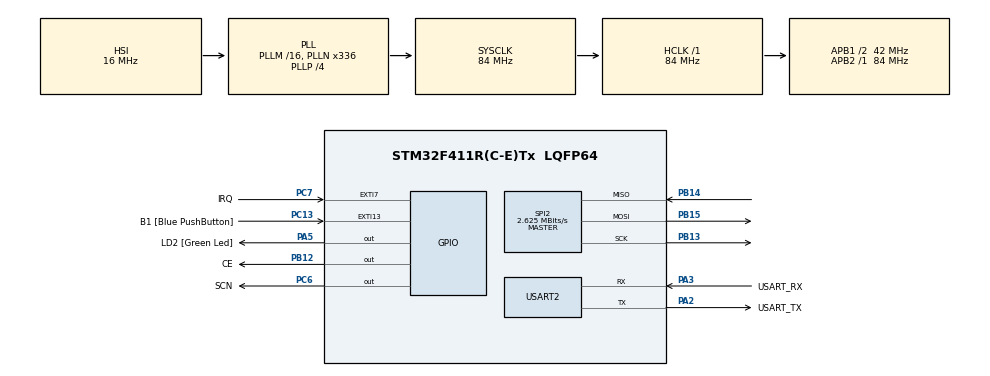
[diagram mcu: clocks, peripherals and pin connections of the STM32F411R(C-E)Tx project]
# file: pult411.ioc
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Mcu.Family=STM32F4
Mcu.Name=STM32F411R(C-E)Tx
Mcu.Package=LQFP64
NVIC.EXTI9_5_IRQn=true\:0\:0\:false\:false\:true\:true
NVIC.PriorityGroup=NVIC_PRIORITYGROUP_0
PA13.GPIO_Label=TMS
PA13.Mode=Serial_Wire
PA13.Signal=SYS_JTMS-SWDIO
PA14.GPIO_Label=TCK
PA14.Mode=Serial_Wire
PA14.Signal=SYS_JTCK-SWCLK
PA2.GPIO_Label=USART_TX
PA2.Mode=Asynchronous
PA2.Signal=USART2_TX
PA3.GPIO_Label=USART_RX
PA3.Mode=Asynchronous
PA3.Signal=USART2_RX
PA5.GPIO_Label=LD2 [Green Led]
PA5.Signal=GPIO_Output
PB12.GPIO_Label=CE
PB12.Signal=GPIO_Output
PB13.Mode=Full_Duplex_Master
PB13.Signal=SPI2_SCK
PB14.Mode=Full_Duplex_Master
PB14.Signal=SPI2_MISO
PB15.Mode=Full_Duplex_Master
PB15.Signal=SPI2_MOSI
PB3.GPIO_Label=SWO
PB3.Signal=SYS_JTDO-SWO
PC13-ANTI_TAMP.GPIO_Label=B1 [Blue PushButton]
PC13-ANTI_TAMP.GPIO_ModeDefaultEXTI=GPIO_MODE_IT_FALLING
PC13-ANTI_TAMP.Signal=GPXTI13
PC14-OSC32_IN.Signal=RCC_OSC32_IN
PC15-OSC32_OUT.Signal=RCC_OSC32_OUT
PC6.GPIO_Label=SCN
PC6.Signal=GPIO_Output
PC7.GPIO_Label=IRQ
PC7.Signal=GPXTI7
PH0\ -\ OSC_IN.Signal=RCC_OSC_IN
PH1\ -\ OSC_OUT.Signal=RCC_OSC_OUT
ProjectManager.HeapSize=0x200
ProjectManager.StackSize=0x4000
ProjectManager.TargetToolchain=SW4STM32
RCC.48MHZClocksFreq_Value=84000000
RCC.AHBFreq_Value=84000000
RCC.APB1CLKDivider=RCC_HCLK_DIV2
RCC.APB1Freq_Value=42000000
RCC.APB1TimFreq_Value=84000000
RCC.APB2Freq_Value=84000000
RCC.APB2TimFreq_Value=84000000
RCC.CortexFreq_Value=84000000
RCC.FLatency-AdvancedSettings=FLASH_LATENCY_2
RCC.HCLKFreq_Value=84000000
RCC.HSE_VALUE=8000000
RCC.HSI_VALUE=16000000
RCC.PLLN=336
RCC.PLLP=RCC_PLLP_DIV4
RCC.SYSCLKFreq_VALUE=84000000
RCC.SYSCLKSource=RCC_SYSCLKSOURCE_PLLCLK
RCC.VCOOutputFreq_Value=336000000
SPI2.BaudRatePrescaler=SPI_BAUDRATEPRESCALER_16
SPI2.CalculateBaudRate=2.625 MBits/s
SPI2.Direction=SPI_DIRECTION_2LINES
SPI2.Mode=SPI_MODE_MASTER
SPI2.VirtualType=VM_MASTER
USART2.VirtualMode=VM_ASYNC
board=NUCLEO-F411RE

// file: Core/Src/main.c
/**
  ******************************************************************************
  * @file           : main.c
  * @brief          : Main program body
  ******************************************************************************
  ** This notice applies to any and all portions of this file
  * that are not between comment pairs USER CODE BEGIN and
  * USER CODE END. Other portions of this file, whether
  * inserted by the user or by software development tools
  * are owned by their respective copyright owners.
  *
  * COPYRIGHT(c) 2018 STMicroelectronics
  *
  * Redistribution and use in source and binary forms, with or without modification,
  * are permitted provided that the following conditions are met:
  *   1. Redistributions of source code must retain the above copyright notice,
  *      this list of conditions and the following disclaimer.
  *   2. Redistributions in binary form must reproduce the above copyright notice,
  *      this list of conditions and the following disclaimer in the documentation
  *      and/or other materials provided with the distribution.
  *   3. Neither the name of STMicroelectronics nor the names of its contributors
  *      may be used to endorse or promote products derived from this software
  *      without specific prior written permission.
  *
  * THIS SOFTWARE IS PROVIDED BY THE COPYRIGHT HOLDERS AND CONTRIBUTORS "AS IS"
  * AND ANY EXPRESS OR IMPLIED WARRANTIES, INCLUDING, BUT NOT LIMITED TO, THE
  * IMPLIED WARRANTIES OF MERCHANTABILITY AND FITNESS FOR A PARTICULAR PURPOSE ARE
  * DISCLAIMED. IN NO EVENT SHALL THE COPYRIGHT HOLDER OR CONTRIBUTORS BE LIABLE
  * FOR ANY DIRECT, INDIRECT, INCIDENTAL, SPECIAL, EXEMPLARY, OR CONSEQUENTIAL
  * DAMAGES (INCLUDING, BUT NOT LIMITED TO, PROCUREMENT OF SUBSTITUTE GOODS OR
  * SERVICES; LOSS OF USE, DATA, OR PROFITS; OR BUSINESS INTERRUPTION) HOWEVER
  * CAUSED AND ON ANY THEORY OF LIABILITY, WHETHER IN CONTRACT, STRICT LIABILITY,
  * OR TORT (INCLUDING NEGLIGENCE OR OTHERWISE) ARISING IN ANY WAY OUT OF THE USE
  * OF THIS SOFTWARE, EVEN IF ADVISED OF THE POSSIBILITY OF SUCH DAMAGE.
  *
  ******************************************************************************
  */
#include "main.h"
#include "stm32f4xx_hal.h"
#include "spi.h"
#include "usart.h"
#include "gpio.h"

/* USER CODE BEGIN Includes */
#include "nrf24.h"
/* USER CODE END Includes */

/* USER CODE BEGIN PV */
/* Private variables ---------------------------------------------------------*/
int _write(int file, char *ptr, int len)
{
    //CDC_Transmit_FS((uint8_t*)ptr, len);
    HAL_UART_Transmit(&huart2, (uint8_t*)ptr, len, 10);
    return len;
}

/* USER CODE END PV */

void SystemClock_Config(void);

/* USER CODE BEGIN PFP */
/* Private function prototypes -----------------------------------------------*/

/* USER CODE END PFP */

int main(void)
{

  /* MCU Configuration----------------------------------------------------------*/

  /* Reset of all peripherals, Initializes the Flash interface and the Systick. */
  HAL_Init();

  /* Configure the system clock */
  SystemClock_Config();

  /* Initialize all configured peripherals */
  MX_GPIO_Init();
  MX_USART2_UART_Init();
  MX_SPI2_Init();
  /* USER CODE BEGIN 2 */
  NRF24 n;
  printf("Hello, norilsk\n");
  nRF24_Init(&n, &hspi2,
             CE_GPIO_Port, CE_Pin,
             SCN_GPIO_Port, SCN_Pin,
             IRQ_GPIO_Port, IRQ_Pin);
  printf("nrf24 inited\n");
  if(nRF24_Check(&n))
      printf("nrf24 OK\n");
  else
      printf("nrf24 ERR\n");
  /* USER CODE END 2 */

  /* Infinite loop */
  /* USER CODE BEGIN WHILE */
  uint8_t addr[] = "00001";
  nRF24_openWritingPipe(&n, addr, 5);
  nRF24_SetTXPower(&n, nRF24_TXPWR_6dBm);
  nRF24_stopListening(&n);
  while (1)
  {
      if(HAL_GPIO_ReadPin(B1_GPIO_Port, B1_Pin)) {
          char text[] = "P11";
          nRF24_write(&n, text, sizeof(text));
      }
      else {
          char text[] = "P10";
          nRF24_write(&n, text, sizeof(text));
      }
      HAL_Delay(10);
  /* USER CODE END WHILE */

  }

}

void SystemClock_Config(void)
{

  RCC_OscInitTypeDef RCC_OscInitStruct;
  RCC_ClkInitTypeDef RCC_ClkInitStruct;

    /**Configure the main internal regulator output voltage
    */
  __HAL_RCC_PWR_CLK_ENABLE();

  __HAL_PWR_VOLTAGESCALING_CONFIG(PWR_REGULATOR_VOLTAGE_SCALE1);

    /**Initializes the CPU, AHB and APB busses clocks
    */
  RCC_OscInitStruct.OscillatorType = RCC_OSCILLATORTYPE_HSI;
  RCC_OscInitStruct.HSIState = RCC_HSI_ON;
  RCC_OscInitStruct.HSICalibrationValue = 16;
  RCC_OscInitStruct.PLL.PLLState = RCC_PLL_ON;
  RCC_OscInitStruct.PLL.PLLSource = RCC_PLLSOURCE_HSI;
  RCC_OscInitStruct.PLL.PLLM = 16;
  RCC_OscInitStruct.PLL.PLLN = 336;
  RCC_OscInitStruct.PLL.PLLP = RCC_PLLP_DIV4;
  RCC_OscInitStruct.PLL.PLLQ = 4;
  if (HAL_RCC_OscConfig(&RCC_OscInitStruct) != HAL_OK)
  {
    _Error_Handler(__FILE__, __LINE__);
  }

    /**Initializes the CPU, AHB and APB busses clocks
    */
  RCC_ClkInitStruct.ClockType = RCC_CLOCKTYPE_HCLK|RCC_CLOCKTYPE_SYSCLK
                              |RCC_CLOCKTYPE_PCLK1|RCC_CLOCKTYPE_PCLK2;
  RCC_ClkInitStruct.SYSCLKSource = RCC_SYSCLKSOURCE_PLLCLK;
  RCC_ClkInitStruct.AHBCLKDivider = RCC_SYSCLK_DIV1;
  RCC_ClkInitStruct.APB1CLKDivider = RCC_HCLK_DIV2;
  RCC_ClkInitStruct.APB2CLKDivider = RCC_HCLK_DIV1;

  if (HAL_RCC_ClockConfig(&RCC_ClkInitStruct, FLASH_LATENCY_2) != HAL_OK)
  {
    _Error_Handler(__FILE__, __LINE__);
  }

    /**Configure the Systick interrupt time
    */
  HAL_SYSTICK_Config(HAL_RCC_GetHCLKFreq()/1000);

    /**Configure the Systick
    */
  HAL_SYSTICK_CLKSourceConfig(SYSTICK_CLKSOURCE_HCLK);

  /* SysTick_IRQn interrupt configuration */
  HAL_NVIC_SetPriority(SysTick_IRQn, 0, 0);
}

void _Error_Handler(char *file, int line)
{
  while(1)
  {
  }
}

/************************ (C) COPYRIGHT STMicroelectronics *****END OF FILE****/
